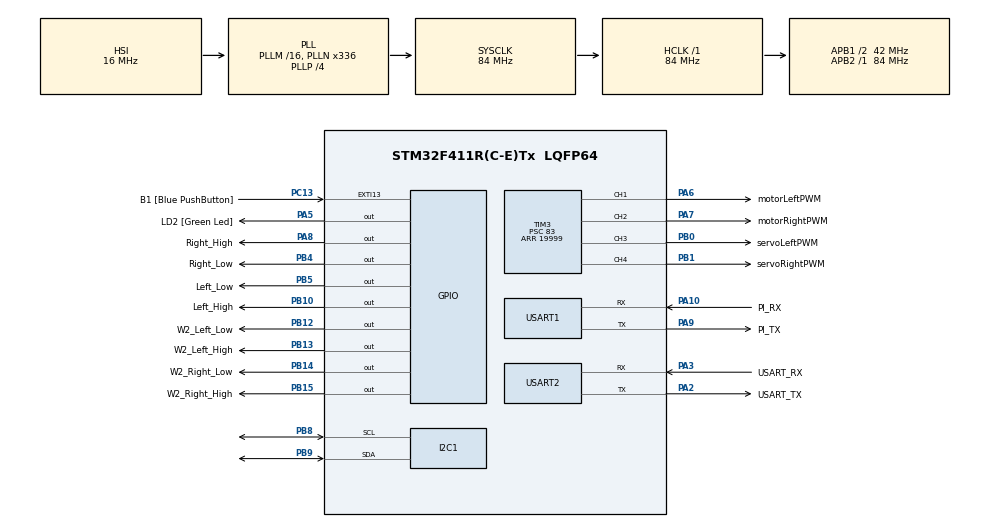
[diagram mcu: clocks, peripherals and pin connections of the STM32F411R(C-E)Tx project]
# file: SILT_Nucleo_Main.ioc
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I2C1.I2C_Mode=I2C_Fast
Mcu.Family=STM32F4
Mcu.Name=STM32F411R(C-E)Tx
Mcu.Package=LQFP64
NVIC.PriorityGroup=NVIC_PRIORITYGROUP_0
NVIC.USART1_IRQn=true\:0\:0\:false\:false\:true\:true\:true\:true
PA10.GPIO_Label=PI_RX
PA10.Mode=Asynchronous
PA10.Signal=USART1_RX
PA13.GPIO_Label=TMS
PA13.Mode=Serial_Wire
PA13.Signal=SYS_JTMS-SWDIO
PA14.GPIO_Label=TCK
PA14.Mode=Serial_Wire
PA14.Signal=SYS_JTCK-SWCLK
PA2.GPIO_Label=USART_TX
PA2.Mode=Asynchronous
PA2.Signal=USART2_TX
PA3.GPIO_Label=USART_RX
PA3.Mode=Asynchronous
PA3.Signal=USART2_RX
PA5.GPIO_Label=LD2 [Green Led]
PA5.Signal=GPIO_Output
PA6.GPIO_Label=motorLeftPWM
PA6.Signal=S_TIM3_CH1
PA7.GPIO_Label=motorRightPWM
PA7.Signal=S_TIM3_CH2
PA8.GPIO_Label=Right_High
PA8.Signal=GPIO_Output
PA9.GPIO_Label=PI_TX
PA9.Mode=Asynchronous
PA9.Signal=USART1_TX
PB0.GPIO_Label=servoLeftPWM
PB0.Signal=S_TIM3_CH3
PB1.GPIO_Label=servoRightPWM
PB1.Signal=S_TIM3_CH4
PB10.GPIO_Label=Left_High
PB10.Signal=GPIO_Output
PB12.GPIO_Label=W2_Left_Low
PB12.Signal=GPIO_Output
PB13.GPIO_Label=W2_Left_High
PB13.Signal=GPIO_Output
PB14.GPIO_Label=W2_Right_Low
PB14.Signal=GPIO_Output
PB15.GPIO_Label=W2_Right_High
PB15.Signal=GPIO_Output
PB3.GPIO_Label=SWO
PB3.Signal=SYS_JTDO-SWO
PB4.GPIO_Label=Right_Low
PB4.Signal=GPIO_Output
PB5.GPIO_Label=Left_Low
PB5.Signal=GPIO_Output
PB8.Mode=I2C
PB8.Signal=I2C1_SCL
PB9.Mode=I2C
PB9.Signal=I2C1_SDA
PC13-ANTI_TAMP.GPIO_Label=B1 [Blue PushButton]
PC13-ANTI_TAMP.GPIO_ModeDefaultEXTI=GPIO_MODE_IT_FALLING
PC13-ANTI_TAMP.Signal=GPXTI13
PC14-OSC32_IN.Mode=LSE-External-Oscillator
PC14-OSC32_IN.Signal=RCC_OSC32_IN
PC15-OSC32_OUT.Mode=LSE-External-Oscillator
PC15-OSC32_OUT.Signal=RCC_OSC32_OUT
PH0\ -\ OSC_IN.Mode=HSE-External-Clock-Source
PH0\ -\ OSC_IN.Signal=RCC_OSC_IN
PH1\ -\ OSC_OUT.Mode=HSE-External-Clock-Source
PH1\ -\ OSC_OUT.Signal=RCC_OSC_OUT
ProjectManager.HeapSize=0x200
ProjectManager.StackSize=0x400
ProjectManager.TargetToolchain=STM32CubeIDE
RCC.48MHZClocksFreq_Value=84000000
RCC.AHBFreq_Value=84000000
RCC.APB1CLKDivider=RCC_HCLK_DIV2
RCC.APB1Freq_Value=42000000
RCC.APB1TimFreq_Value=84000000
RCC.APB2Freq_Value=84000000
RCC.APB2TimFreq_Value=84000000
RCC.CortexFreq_Value=84000000
RCC.FLatency-AdvancedSettings=FLASH_LATENCY_2
RCC.HCLKFreq_Value=84000000
RCC.HSE_VALUE=8000000
RCC.HSI_VALUE=16000000
RCC.PLLN=336
RCC.PLLP=RCC_PLLP_DIV4
RCC.SYSCLKFreq_VALUE=84000000
RCC.SYSCLKSource=RCC_SYSCLKSOURCE_PLLCLK
RCC.VCOOutputFreq_Value=336000000
SH.S_TIM3_CH1.0=TIM3_CH1,PWM Generation1 CH1
SH.S_TIM3_CH2.0=TIM3_CH2,PWM Generation2 CH2
SH.S_TIM3_CH3.0=TIM3_CH3,PWM Generation3 CH3
SH.S_TIM3_CH4.0=TIM3_CH4,PWM Generation4 CH4
TIM3.Channel-PWM\ Generation1\ CH1=TIM_CHANNEL_1
TIM3.Channel-PWM\ Generation2\ CH2=TIM_CHANNEL_2
TIM3.Channel-PWM\ Generation3\ CH3=TIM_CHANNEL_3
TIM3.Channel-PWM\ Generation4\ CH4=TIM_CHANNEL_4
TIM3.Period=19999
TIM3.Prescaler=83
TIM3.Pulse-PWM\ Generation1\ CH1=1500
TIM3.Pulse-PWM\ Generation2\ CH2=1500
TIM3.Pulse-PWM\ Generation3\ CH3=1500
TIM3.Pulse-PWM\ Generation4\ CH4=1500
USART1.VirtualMode=VM_ASYNC
USART2.VirtualMode=VM_ASYNC
VP_TIM3_VS_ClockSourceINT.Mode=Internal
board=NUCLEO-F411RE

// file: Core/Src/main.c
/* USER CODE BEGIN Header */
/**
  ******************************************************************************
  * @file           : main.c
  * @brief          : Main program body
  ******************************************************************************
  * @attention
  *
  * Copyright (c) 2026 STMicroelectronics.
  * All rights reserved.
  *
  * This software is licensed under terms that can be found in the LICENSE file
  * in the root directory of this software component.
  * If no LICENSE file comes with this software, it is provided AS-IS.
  *
  ******************************************************************************
  */
/* USER CODE END Header */
#include "main.h"
#include "winchSystem.h"

/* USER CODE BEGIN Includes */
#include <string.h>
/* USER CODE END Includes */

/* USER CODE BEGIN PD */
#define ST 1500

/*
 * Packet from the Pi (20 Hz):   $1500,1500,1500,1,0*05\n
 *   fields: left, right, servo, winch1, winch2
 *   checksum: XOR of every char between '$' and '*', as 2 hex digits
 * Pi is wired to USART1: PA9 = TX (Nucleo D8), PA10 = RX (Nucleo D2).
 */
#define PI_UART            huart1   /* UART connected to the Raspberry Pi */
#define RX_MAX_LEN         40       /* longer lines are thrown away       */
#define NUM_FIELDS         5
#define FAILSAFE_MS        250
/* USER CODE END PD */

I2C_HandleTypeDef hi2c1;

TIM_HandleTypeDef htim3;

UART_HandleTypeDef huart1;
UART_HandleTypeDef huart2;

/* USER CODE BEGIN PV */
/* Values from the last good packet (startup = neutral / stopped) */
volatile uint16_t leftPulse      = ST;
volatile uint16_t rightPulse     = ST;
volatile uint16_t servoPulse     = 1500;
volatile uint8_t  winch1Cmd      = 0;
volatile uint8_t  winch2Cmd      = 0;
volatile uint32_t lastPacketTick = 0;
volatile uint32_t rejectedCount  = 0;

/* Receive state (only touched inside the UART interrupt) */
static uint8_t  rxByte;                  /* HAL writes each new byte here    */
static char     rxBuf[RX_MAX_LEN + 1];   /* line being built, +1 for '\0'    */
static uint8_t  rxLen = 0;
static uint8_t  rxOverflow = 0;          /* 1 = skipping a too-long line     */
/* USER CODE END PV */

void SystemClock_Config(void);
static void MX_GPIO_Init(void);
static void MX_TIM3_Init(void);
static void MX_USART2_UART_Init(void);
static void MX_USART1_UART_Init(void);
static void MX_I2C1_Init(void);
/* USER CODE BEGIN PFP */
static void processLine(char *line, uint8_t len);
/* USER CODE END PFP */

/* USER CODE BEGIN 0 */
void setThrusters(int left, int right){
	if ((left >= 1000) && (left <= 2000) && (right >= 1000) && (right <= 2000)){
		__HAL_TIM_SET_COMPARE(&htim3, TIM_CHANNEL_1, left);
		__HAL_TIM_SET_COMPARE(&htim3, TIM_CHANNEL_2, right);
	}
	else{
		__HAL_TIM_SET_COMPARE(&htim3, TIM_CHANNEL_1, ST);
		__HAL_TIM_SET_COMPARE(&htim3, TIM_CHANNEL_2, ST);
	}
}

void setServos(int angleVal){
	if ((angleVal >= 500) && (angleVal <= 2500)){
		__HAL_TIM_SET_COMPARE(&htim3, TIM_CHANNEL_3, angleVal);
		__HAL_TIM_SET_COMPARE(&htim3, TIM_CHANNEL_4, angleVal);
	}
	else {
		return;
	}
}

/* Turn one hex character into 0-15, or -1 if it isn't hex. */
static int hexVal(char c)
{
  if (c >= '0' && c <= '9') return c - '0';
  if (c >= 'A' && c <= 'F') return c - 'A' + 10;
  if (c >= 'a' && c <= 'f') return c - 'a' + 10;
  return -1;
}

/*
 * Check one complete line (newline already removed) and, if it is good,
 * save the five numbers. Returns 1 if accepted, 0 if rejected.
 * Ranges are NOT checked here; setThrusters / setServos do that.
 */
static uint8_t parseLine(const char *line, uint8_t len, uint16_t out[NUM_FIELDS])
{
  /* Check 1: starts with '$' */
  if (len == 0 || line[0] != '$') return 0;

  /* Check 2: has a '*' */
  const char *star = memchr(line, '*', len);
  if (star == NULL) return 0;

  /* After the star there must be exactly two hex digits */
  uint8_t starPos = (uint8_t)(star - line);
  if (len != starPos + 3) return 0;
  int hi = hexVal(line[starPos + 1]);
  int lo = hexVal(line[starPos + 2]);
  if (hi < 0 || lo < 0) return 0;
  uint8_t sentCs = (uint8_t)((hi << 4) | lo);

  /* Check 3: checksum = XOR of everything between '$' and '*' */
  uint8_t cs = 0;
  for (uint8_t i = 1; i < starPos; i++) cs ^= (uint8_t)line[i];
  if (cs != sentCs) return 0;

  /* Check 4: exactly five comma-separated fields, digits only */
  uint8_t  field  = 0;
  uint8_t  digits = 0;
  uint32_t value  = 0;
  for (uint8_t i = 1; i <= starPos; i++)
  {
    char c = (i == starPos) ? ',' : line[i];   /* treat '*' as the last comma */

    if (c >= '0' && c <= '9')
    {
      if (++digits > 5) return 0;              /* keeps the number from overflowing */
      value = value * 10 + (uint32_t)(c - '0');
    }
    else if (c == ',')
    {
      if (digits == 0 || field >= NUM_FIELDS) return 0;  /* empty field or too many */
      out[field++] = (uint16_t)value;
      value = 0;
      digits = 0;
    }
    else
    {
      return 0;                                /* anything else (space, '-', ...) */
    }
  }
  return (field == NUM_FIELDS);
}

/* Called once per finished line. Saves values only if every check passes. */
static void processLine(char *line, uint8_t len)
{
  uint16_t v[NUM_FIELDS];

  if (parseLine(line, len, v))
  {
    leftPulse      = v[0];
    rightPulse     = v[1];
    servoPulse     = v[2];
    winch1Cmd      = (uint8_t)v[3];
    winch2Cmd      = (uint8_t)v[4];
    lastPacketTick = HAL_GetTick();
  }
  else
  {
    rejectedCount++;                           /* bad line: change nothing */
  }
}

/* HAL calls this every time one byte has arrived. */
void HAL_UART_RxCpltCallback(UART_HandleTypeDef *huart)
{
  if (huart != &PI_UART) return;

  char c = (char)rxByte;

  if (c == '\n')
  {
    if (rxOverflow)
    {
      rxOverflow = 0;                          /* end of the too-long line */
    }
    else
    {
      if (rxLen > 0 && rxBuf[rxLen - 1] == '\r') rxLen--;  /* allow \r\n too */
      rxBuf[rxLen] = '\0';
      processLine(rxBuf, rxLen);
    }
    rxLen = 0;
  }
  else if (!rxOverflow)
  {
    if (rxLen < RX_MAX_LEN)
    {
      rxBuf[rxLen++] = c;
    }
    else
    {
      /* Longer than 40 chars: throw it away and ignore the rest of it */
      rxLen = 0;
      rxOverflow = 1;
      rejectedCount++;
    }
  }

  HAL_UART_Receive_IT(&PI_UART, &rxByte, 1);   /* listen for the next byte */
}

/* If noise causes a UART error (overrun, framing...), HAL stops receiving.
   Throw away the half-built line and start listening again. */
void HAL_UART_ErrorCallback(UART_HandleTypeDef *huart)
{
  if (huart != &PI_UART) return;
  rxLen = 0;
  rxOverflow = 0;
  HAL_UART_Receive_IT(&PI_UART, &rxByte, 1);
}
/* USER CODE END 0 */

int main(void)
{

  /* MCU Configuration--------------------------------------------------------*/

  /* Reset of all peripherals, Initializes the Flash interface and the Systick. */
  HAL_Init();

  /* Configure the system clock */
  SystemClock_Config();

  /* Initialize all configured peripherals */
  MX_GPIO_Init();
  MX_TIM3_Init();
  MX_USART2_UART_Init();
  MX_USART1_UART_Init();
  MX_I2C1_Init();
  /* USER CODE BEGIN 2 */

  PiSend_Init(&PI_UART);
  WinchSys_Init(&hi2c1);	/* Initializes winches and current sensors */

  HAL_TIM_PWM_Start(&htim3, TIM_CHANNEL_1);
  HAL_TIM_PWM_Start(&htim3, TIM_CHANNEL_2);
  HAL_TIM_PWM_Start(&htim3, TIM_CHANNEL_3);
  HAL_TIM_PWM_Start(&htim3, TIM_CHANNEL_4);
  HAL_UART_Receive_IT(&PI_UART, &rxByte, 1);   /* start listening to the Pi */
  /* USER CODE END 2 */

  /* Infinite loop */
  while (1)
  {

    /* USER CODE BEGIN 3 */

	  /* Safety: no good line for 250 ms -> stop thrusters and winches.
	     The servo stays where it is. (Starts in failsafe until the first
	     good packet, since lastPacketTick starts at 0.) */
	  if (HAL_GetTick() - lastPacketTick > FAILSAFE_MS)
	  {
		  leftPulse  = ST;
		  rightPulse = ST;
		  winch1Cmd  = 0;
		  winch2Cmd  = 0;
	  }

	  WinchSys_SetCommand(0, winch1Cmd);
	  WinchSys_SetCommand(1, winch2Cmd);
	  WinchSys_Update();

	  PiSend_Update();

	  setThrusters(leftPulse, rightPulse);
	  setServos(servoPulse);
  }
  /* USER CODE END 3 */
}

void SystemClock_Config(void)
{
  RCC_OscInitTypeDef RCC_OscInitStruct = {0};
  RCC_ClkInitTypeDef RCC_ClkInitStruct = {0};

  /** Configure the main internal regulator output voltage
  */
  __HAL_RCC_PWR_CLK_ENABLE();
  __HAL_PWR_VOLTAGESCALING_CONFIG(PWR_REGULATOR_VOLTAGE_SCALE1);

  /** Initializes the RCC Oscillators according to the specified parameters
  * in the RCC_OscInitTypeDef structure.
  */
  RCC_OscInitStruct.OscillatorType = RCC_OSCILLATORTYPE_HSI;
  RCC_OscInitStruct.HSIState = RCC_HSI_ON;
  RCC_OscInitStruct.HSICalibrationValue = RCC_HSICALIBRATION_DEFAULT;
  RCC_OscInitStruct.PLL.PLLState = RCC_PLL_ON;
  RCC_OscInitStruct.PLL.PLLSource = RCC_PLLSOURCE_HSI;
  RCC_OscInitStruct.PLL.PLLM = 16;
  RCC_OscInitStruct.PLL.PLLN = 336;
  RCC_OscInitStruct.PLL.PLLP = RCC_PLLP_DIV4;
  RCC_OscInitStruct.PLL.PLLQ = 4;
  if (HAL_RCC_OscConfig(&RCC_OscInitStruct) != HAL_OK)
  {
    Error_Handler();
  }

  /** Initializes the CPU, AHB and APB buses clocks
  */
  RCC_ClkInitStruct.ClockType = RCC_CLOCKTYPE_HCLK|RCC_CLOCKTYPE_SYSCLK
                              |RCC_CLOCKTYPE_PCLK1|RCC_CLOCKTYPE_PCLK2;
  RCC_ClkInitStruct.SYSCLKSource = RCC_SYSCLKSOURCE_PLLCLK;
  RCC_ClkInitStruct.AHBCLKDivider = RCC_SYSCLK_DIV1;
  RCC_ClkInitStruct.APB1CLKDivider = RCC_HCLK_DIV2;
  RCC_ClkInitStruct.APB2CLKDivider = RCC_HCLK_DIV1;

  if (HAL_RCC_ClockConfig(&RCC_ClkInitStruct, FLASH_LATENCY_2) != HAL_OK)
  {
    Error_Handler();
  }
}

static void MX_I2C1_Init(void)
{

  hi2c1.Instance = I2C1;
  hi2c1.Init.ClockSpeed = 400000;
  hi2c1.Init.DutyCycle = I2C_DUTYCYCLE_2;
  hi2c1.Init.OwnAddress1 = 0;
  hi2c1.Init.AddressingMode = I2C_ADDRESSINGMODE_7BIT;
  hi2c1.Init.DualAddressMode = I2C_DUALADDRESS_DISABLE;
  hi2c1.Init.OwnAddress2 = 0;
  hi2c1.Init.GeneralCallMode = I2C_GENERALCALL_DISABLE;
  hi2c1.Init.NoStretchMode = I2C_NOSTRETCH_DISABLE;
  if (HAL_I2C_Init(&hi2c1) != HAL_OK)
  {
    Error_Handler();
  }

}

static void MX_TIM3_Init(void)
{

  TIM_ClockConfigTypeDef sClockSourceConfig = {0};
  TIM_MasterConfigTypeDef sMasterConfig = {0};
  TIM_OC_InitTypeDef sConfigOC = {0};

  htim3.Instance = TIM3;
  htim3.Init.Prescaler = 83;
  htim3.Init.CounterMode = TIM_COUNTERMODE_UP;
  htim3.Init.Period = 19999;
  htim3.Init.ClockDivision = TIM_CLOCKDIVISION_DIV1;
  htim3.Init.AutoReloadPreload = TIM_AUTORELOAD_PRELOAD_DISABLE;
  if (HAL_TIM_Base_Init(&htim3) != HAL_OK)
  {
    Error_Handler();
  }
  sClockSourceConfig.ClockSource = TIM_CLOCKSOURCE_INTERNAL;
  if (HAL_TIM_ConfigClockSource(&htim3, &sClockSourceConfig) != HAL_OK)
  {
    Error_Handler();
  }
  if (HAL_TIM_PWM_Init(&htim3) != HAL_OK)
  {
    Error_Handler();
  }
  sMasterConfig.MasterOutputTrigger = TIM_TRGO_RESET;
  sMasterConfig.MasterSlaveMode = TIM_MASTERSLAVEMODE_DISABLE;
  if (HAL_TIMEx_MasterConfigSynchronization(&htim3, &sMasterConfig) != HAL_OK)
  {
    Error_Handler();
  }
  sConfigOC.OCMode = TIM_OCMODE_PWM1;
  sConfigOC.Pulse = 1500;
  sConfigOC.OCPolarity = TIM_OCPOLARITY_HIGH;
  sConfigOC.OCFastMode = TIM_OCFAST_DISABLE;
  if (HAL_TIM_PWM_ConfigChannel(&htim3, &sConfigOC, TIM_CHANNEL_1) != HAL_OK)
  {
    Error_Handler();
  }
  if (HAL_TIM_PWM_ConfigChannel(&htim3, &sConfigOC, TIM_CHANNEL_2) != HAL_OK)
  {
    Error_Handler();
  }
  if (HAL_TIM_PWM_ConfigChannel(&htim3, &sConfigOC, TIM_CHANNEL_3) != HAL_OK)
  {
    Error_Handler();
  }
  if (HAL_TIM_PWM_ConfigChannel(&htim3, &sConfigOC, TIM_CHANNEL_4) != HAL_OK)
  {
    Error_Handler();
  }
  HAL_TIM_MspPostInit(&htim3);

}

static void MX_USART1_UART_Init(void)
{

  huart1.Instance = USART1;
  huart1.Init.BaudRate = 115200;
  huart1.Init.WordLength = UART_WORDLENGTH_8B;
  huart1.Init.StopBits = UART_STOPBITS_1;
  huart1.Init.Parity = UART_PARITY_NONE;
  huart1.Init.Mode = UART_MODE_TX_RX;
  huart1.Init.HwFlowCtl = UART_HWCONTROL_NONE;
  huart1.Init.OverSampling = UART_OVERSAMPLING_16;
  if (HAL_UART_Init(&huart1) != HAL_OK)
  {
    Error_Handler();
  }

}

static void MX_USART2_UART_Init(void)
{

  huart2.Instance = USART2;
  huart2.Init.BaudRate = 115200;
  huart2.Init.WordLength = UART_WORDLENGTH_8B;
  huart2.Init.StopBits = UART_STOPBITS_1;
  huart2.Init.Parity = UART_PARITY_NONE;
  huart2.Init.Mode = UART_MODE_TX_RX;
  huart2.Init.HwFlowCtl = UART_HWCONTROL_NONE;
  huart2.Init.OverSampling = UART_OVERSAMPLING_16;
  if (HAL_UART_Init(&huart2) != HAL_OK)
  {
    Error_Handler();
  }

}

static void MX_GPIO_Init(void)
{
  GPIO_InitTypeDef GPIO_InitStruct = {0};

  /* GPIO Ports Clock Enable */
  __HAL_RCC_GPIOC_CLK_ENABLE();
  __HAL_RCC_GPIOH_CLK_ENABLE();
  __HAL_RCC_GPIOA_CLK_ENABLE();
  __HAL_RCC_GPIOB_CLK_ENABLE();

  /*Configure GPIO pin Output Level */
  HAL_GPIO_WritePin(GPIOA, LD2_Pin|Right_High_Pin, GPIO_PIN_RESET);

  /*Configure GPIO pin Output Level */
  HAL_GPIO_WritePin(GPIOB, Left_High_Pin|W2_Left_Low_Pin|W2_Left_High_Pin|W2_Right_Low_Pin
                          |W2_Right_High_Pin|Right_Low_Pin|Left_Low_Pin, GPIO_PIN_RESET);

  /*Configure GPIO pin : B1_Pin */
  GPIO_InitStruct.Pin = B1_Pin;
  GPIO_InitStruct.Mode = GPIO_MODE_IT_FALLING;
  GPIO_InitStruct.Pull = GPIO_NOPULL;
  HAL_GPIO_Init(B1_GPIO_Port, &GPIO_InitStruct);

  /*Configure GPIO pins : LD2_Pin Right_High_Pin */
  GPIO_InitStruct.Pin = LD2_Pin|Right_High_Pin;
  GPIO_InitStruct.Mode = GPIO_MODE_OUTPUT_PP;
  GPIO_InitStruct.Pull = GPIO_NOPULL;
  GPIO_InitStruct.Speed = GPIO_SPEED_FREQ_LOW;
  HAL_GPIO_Init(GPIOA, &GPIO_InitStruct);

  /*Configure GPIO pins : Left_High_Pin W2_Left_Low_Pin W2_Left_High_Pin W2_Right_Low_Pin
                           W2_Right_High_Pin Right_Low_Pin Left_Low_Pin */
  GPIO_InitStruct.Pin = Left_High_Pin|W2_Left_Low_Pin|W2_Left_High_Pin|W2_Right_Low_Pin
                          |W2_Right_High_Pin|Right_Low_Pin|Left_Low_Pin;
  GPIO_InitStruct.Mode = GPIO_MODE_OUTPUT_PP;
  GPIO_InitStruct.Pull = GPIO_NOPULL;
  GPIO_InitStruct.Speed = GPIO_SPEED_FREQ_LOW;
  HAL_GPIO_Init(GPIOB, &GPIO_InitStruct);

}

void Error_Handler(void)
{
  /* USER CODE BEGIN Error_Handler_Debug */
  /* User can add his own implementation to report the HAL error return state */
	WinchSys_StopAll();
  __disable_irq();
  while (1)
  {
  }
  /* USER CODE END Error_Handler_Debug */
}
